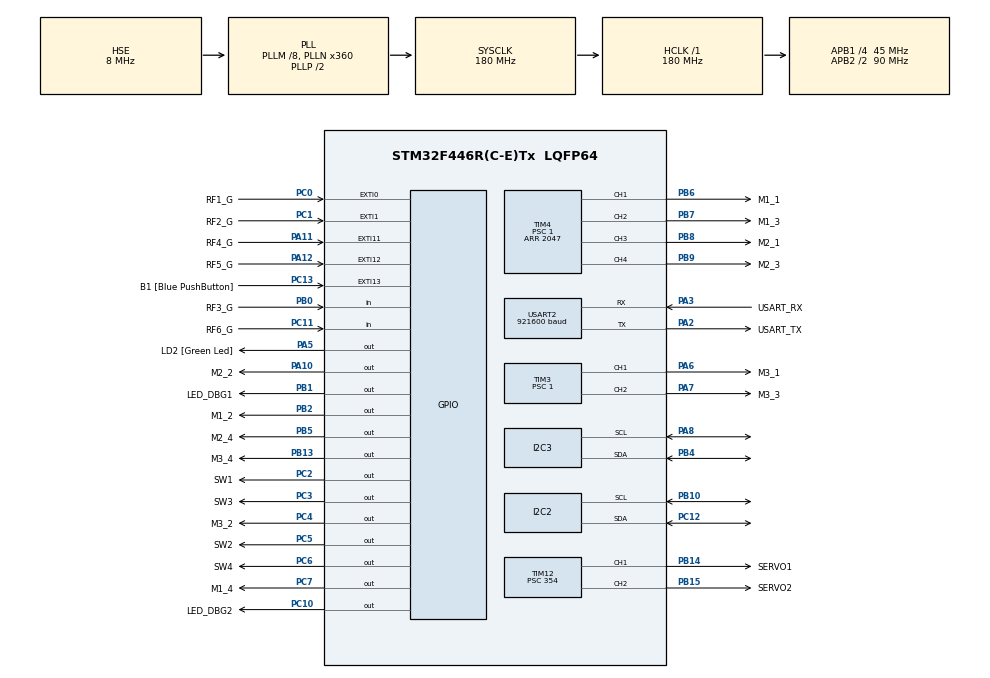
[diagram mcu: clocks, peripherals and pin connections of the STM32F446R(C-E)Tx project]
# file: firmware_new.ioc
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Dma.I2C2_RX.0.Direction=DMA_PERIPH_TO_MEMORY
Dma.I2C2_RX.0.FIFOMode=DMA_FIFOMODE_DISABLE
Dma.I2C2_RX.0.Instance=DMA1_Stream2
Dma.I2C2_RX.0.MemDataAlignment=DMA_MDATAALIGN_BYTE
Dma.I2C2_RX.0.MemInc=DMA_MINC_ENABLE
Dma.I2C2_RX.0.Mode=DMA_NORMAL
Dma.I2C2_RX.0.PeriphDataAlignment=DMA_PDATAALIGN_BYTE
Dma.I2C2_RX.0.PeriphInc=DMA_PINC_DISABLE
Dma.I2C2_RX.0.Priority=DMA_PRIORITY_LOW
Dma.I2C2_TX.1.Direction=DMA_MEMORY_TO_PERIPH
Dma.I2C2_TX.1.FIFOMode=DMA_FIFOMODE_DISABLE
Dma.I2C2_TX.1.Instance=DMA1_Stream7
Dma.I2C2_TX.1.MemDataAlignment=DMA_MDATAALIGN_BYTE
Dma.I2C2_TX.1.MemInc=DMA_MINC_ENABLE
Dma.I2C2_TX.1.Mode=DMA_NORMAL
Dma.I2C2_TX.1.PeriphDataAlignment=DMA_PDATAALIGN_BYTE
Dma.I2C2_TX.1.PeriphInc=DMA_PINC_DISABLE
Dma.I2C2_TX.1.Priority=DMA_PRIORITY_HIGH
Dma.I2C3_RX.2.Direction=DMA_PERIPH_TO_MEMORY
Dma.I2C3_RX.2.FIFOMode=DMA_FIFOMODE_DISABLE
Dma.I2C3_RX.2.Instance=DMA1_Stream1
Dma.I2C3_RX.2.MemDataAlignment=DMA_MDATAALIGN_BYTE
Dma.I2C3_RX.2.MemInc=DMA_MINC_ENABLE
Dma.I2C3_RX.2.Mode=DMA_NORMAL
Dma.I2C3_RX.2.PeriphDataAlignment=DMA_PDATAALIGN_BYTE
Dma.I2C3_RX.2.PeriphInc=DMA_PINC_DISABLE
Dma.I2C3_RX.2.Priority=DMA_PRIORITY_LOW
Dma.I2C3_TX.3.Direction=DMA_MEMORY_TO_PERIPH
Dma.I2C3_TX.3.FIFOMode=DMA_FIFOMODE_DISABLE
Dma.I2C3_TX.3.Instance=DMA1_Stream4
Dma.I2C3_TX.3.MemDataAlignment=DMA_MDATAALIGN_BYTE
Dma.I2C3_TX.3.MemInc=DMA_MINC_ENABLE
Dma.I2C3_TX.3.Mode=DMA_NORMAL
Dma.I2C3_TX.3.PeriphDataAlignment=DMA_PDATAALIGN_BYTE
Dma.I2C3_TX.3.PeriphInc=DMA_PINC_DISABLE
Dma.I2C3_TX.3.Priority=DMA_PRIORITY_HIGH
Dma.Request0=I2C2_RX
Dma.Request1=I2C2_TX
Dma.Request2=I2C3_RX
Dma.Request3=I2C3_TX
Dma.Request4=USART2_RX
Dma.Request5=USART2_TX
Dma.USART2_RX.4.Direction=DMA_PERIPH_TO_MEMORY
Dma.USART2_RX.4.FIFOMode=DMA_FIFOMODE_DISABLE
Dma.USART2_RX.4.Instance=DMA1_Stream5
Dma.USART2_RX.4.MemDataAlignment=DMA_MDATAALIGN_BYTE
Dma.USART2_RX.4.MemInc=DMA_MINC_ENABLE
Dma.USART2_RX.4.Mode=DMA_CIRCULAR
Dma.USART2_RX.4.PeriphDataAlignment=DMA_PDATAALIGN_BYTE
Dma.USART2_RX.4.PeriphInc=DMA_PINC_DISABLE
Dma.USART2_RX.4.Priority=DMA_PRIORITY_VERY_HIGH
Dma.USART2_TX.5.Direction=DMA_MEMORY_TO_PERIPH
Dma.USART2_TX.5.FIFOMode=DMA_FIFOMODE_DISABLE
Dma.USART2_TX.5.Instance=DMA1_Stream6
Dma.USART2_TX.5.MemDataAlignment=DMA_MDATAALIGN_BYTE
Dma.USART2_TX.5.MemInc=DMA_MINC_ENABLE
Dma.USART2_TX.5.Mode=DMA_NORMAL
Dma.USART2_TX.5.PeriphDataAlignment=DMA_PDATAALIGN_BYTE
Dma.USART2_TX.5.PeriphInc=DMA_PINC_DISABLE
Dma.USART2_TX.5.Priority=DMA_PRIORITY_VERY_HIGH
I2C2.I2C_Mode=I2C_Fast
I2C3.I2C_Mode=I2C_Fast
Mcu.Family=STM32F4
Mcu.Name=STM32F446R(C-E)Tx
Mcu.Package=LQFP64
NVIC.DMA1_Stream1_IRQn=true\:0\:0\:false\:false\:true\:false
NVIC.DMA1_Stream2_IRQn=true\:0\:0\:false\:false\:true\:false
NVIC.DMA1_Stream4_IRQn=true\:0\:0\:false\:false\:true\:false
NVIC.DMA1_Stream5_IRQn=true\:0\:0\:false\:false\:true\:false
NVIC.DMA1_Stream6_IRQn=true\:0\:0\:false\:false\:true\:false
NVIC.DMA1_Stream7_IRQn=true\:0\:0\:false\:false\:true\:false
NVIC.I2C2_ER_IRQn=true\:0\:0\:false\:false\:true\:true
NVIC.I2C2_EV_IRQn=true\:0\:0\:false\:false\:true\:true
NVIC.I2C3_ER_IRQn=true\:0\:0\:false\:false\:true\:true
NVIC.I2C3_EV_IRQn=true\:0\:0\:false\:false\:true\:true
NVIC.PriorityGroup=NVIC_PRIORITYGROUP_0
NVIC.USART2_IRQn=true\:0\:0\:false\:false\:true\:true
PA10.GPIO_Label=M2_2
PA10.Signal=GPIO_Output
PA11.GPIO_Label=RF4_G
PA11.GPIO_ModeDefaultEXTI=GPIO_MODE_IT_FALLING
PA11.GPIO_PuPd=GPIO_PULLUP
PA11.Signal=GPXTI11
PA12.GPIO_Label=RF5_G
PA12.GPIO_ModeDefaultEXTI=GPIO_MODE_IT_FALLING
PA12.GPIO_PuPd=GPIO_PULLUP
PA12.Signal=GPXTI12
PA13.GPIO_Label=TMS
PA13.Signal=SYS_JTMS-SWDIO
PA14.GPIO_Label=TCK
PA14.Signal=SYS_JTCK-SWCLK
PA2.GPIO_Label=USART_TX
PA2.Mode=Asynchronous
PA2.Signal=USART2_TX
PA3.GPIO_Label=USART_RX
PA3.Mode=Asynchronous
PA3.Signal=USART2_RX
PA5.GPIO_Label=LD2 [Green Led]
PA5.Signal=GPIO_Output
PA6.GPIO_Label=M3_1
PA6.Signal=S_TIM3_CH1
PA7.GPIO_Label=M3_3
PA7.Signal=S_TIM3_CH2
PA8.Mode=I2C
PA8.Signal=I2C3_SCL
PB0.GPIO_Label=RF3_G
PB0.GPIO_PuPd=GPIO_PULLUP
PB0.Signal=GPIO_Input
PB1.GPIO_Label=LED_DBG1
PB1.Signal=GPIO_Output
PB10.Mode=I2C
PB10.Signal=I2C2_SCL
PB13.GPIO_Label=M3_4
PB13.Signal=GPIO_Output
PB14.GPIO_Label=SERVO1
PB14.Signal=S_TIM12_CH1
PB15.GPIO_Label=SERVO2
PB15.Signal=S_TIM12_CH2
PB2.GPIO_Label=M1_2
PB2.Signal=GPIO_Output
PB3.GPIO_Label=SWO
PB3.Signal=SYS_JTDO-SWO
PB4.Mode=I2C
PB4.Signal=I2C3_SDA
PB5.GPIO_Label=M2_4
PB5.Signal=GPIO_Output
PB6.GPIO_Label=M1_1
PB6.Signal=S_TIM4_CH1
PB7.GPIO_Label=M1_3
PB7.Signal=S_TIM4_CH2
PB8.GPIO_Label=M2_1
PB8.Signal=S_TIM4_CH3
PB9.GPIO_Label=M2_3
PB9.Signal=S_TIM4_CH4
PC0.GPIO_Label=RF1_G
PC0.GPIO_ModeDefaultEXTI=GPIO_MODE_IT_FALLING
PC0.GPIO_PuPd=GPIO_PULLUP
PC0.Signal=GPXTI0
PC1.GPIO_Label=RF2_G
PC1.GPIO_ModeDefaultEXTI=GPIO_MODE_IT_FALLING
PC1.GPIO_PuPd=GPIO_PULLUP
PC1.Signal=GPXTI1
PC10.GPIO_Label=LED_DBG2
PC10.Signal=GPIO_Output
PC11.GPIO_Label=RF6_G
PC11.Signal=GPIO_Input
PC12.Mode=I2C
PC12.Signal=I2C2_SDA
PC13.GPIO_Label=B1 [Blue PushButton]
PC13.GPIO_ModeDefaultEXTI=GPIO_MODE_IT_FALLING
PC13.Signal=GPXTI13
PC14-OSC32_IN.Mode=LSE-External-Oscillator
PC14-OSC32_IN.Signal=RCC_OSC32_IN
PC15-OSC32_OUT.Mode=LSE-External-Oscillator
PC15-OSC32_OUT.Signal=RCC_OSC32_OUT
PC2.GPIO_Label=SW1
PC2.Signal=GPIO_Output
PC3.GPIO_Label=SW3
PC3.Signal=GPIO_Output
PC4.GPIO_Label=M3_2
PC4.Signal=GPIO_Output
PC5.GPIO_Label=SW2
PC5.Signal=GPIO_Output
PC6.GPIO_Label=SW4
PC6.Signal=GPIO_Output
PC7.GPIO_Label=M1_4
PC7.Signal=GPIO_Output
PH0-OSC_IN.Mode=HSE-External-Oscillator
PH0-OSC_IN.Signal=RCC_OSC_IN
PH1-OSC_OUT.Mode=HSE-External-Oscillator
PH1-OSC_OUT.Signal=RCC_OSC_OUT
ProjectManager.HeapSize=0x200
ProjectManager.StackSize=0x400
ProjectManager.TargetToolchain=Makefile
RCC.AHBFreq_Value=180000000
RCC.APB1CLKDivider=RCC_HCLK_DIV4
RCC.APB1Freq_Value=45000000
RCC.APB1TimFreq_Value=90000000
RCC.APB2CLKDivider=RCC_HCLK_DIV2
RCC.APB2Freq_Value=90000000
RCC.APB2TimFreq_Value=180000000
RCC.CortexFreq_Value=180000000
RCC.FLatency-AdvancedSettings=FLASH_LATENCY_5
RCC.HCLKFreq_Value=180000000
RCC.HSE_VALUE=8000000
RCC.HSI_VALUE=16000000
RCC.PLLM=8
RCC.PLLN=360
RCC.PLLSourceVirtual=RCC_PLLSOURCE_HSE
RCC.SYSCLKFreq_VALUE=180000000
RCC.SYSCLKSource=RCC_SYSCLKSOURCE_PLLCLK
RCC.USBFreq_Value=180000000
RCC.VCOOutputFreq_Value=360000000
SH.S_TIM12_CH1.0=TIM12_CH1,PWM Generation1 CH1
SH.S_TIM12_CH2.0=TIM12_CH2,PWM Generation2 CH2
SH.S_TIM3_CH1.0=TIM3_CH1,PWM Generation1 CH1
SH.S_TIM3_CH2.0=TIM3_CH2,PWM Generation2 CH2
SH.S_TIM4_CH1.0=TIM4_CH1,PWM Generation1 CH1
SH.S_TIM4_CH2.0=TIM4_CH2,PWM Generation2 CH2
SH.S_TIM4_CH3.0=TIM4_CH3,PWM Generation3 CH3
SH.S_TIM4_CH4.0=TIM4_CH4,PWM Generation4 CH4
TIM12.Channel-PWM\ Generation1\ CH1=TIM_CHANNEL_1
TIM12.Channel-PWM\ Generation2\ CH2=TIM_CHANNEL_2
TIM12.ClockDivision=TIM_CLOCKDIVISION_DIV1
TIM12.Period=3178
TIM12.Prescaler=354
TIM12.Pulse-PWM\ Generation1\ CH1=63
TIM12.Pulse-PWM\ Generation2\ CH2=63
TIM3.Channel-PWM\ Generation1\ CH1=TIM_CHANNEL_1
TIM3.Channel-PWM\ Generation2\ CH2=TIM_CHANNEL_2
TIM3.Period=2047
TIM3.Prescaler=1
TIM4.Channel-PWM\ Generation1\ CH1=TIM_CHANNEL_1
TIM4.Channel-PWM\ Generation2\ CH2=TIM_CHANNEL_2
TIM4.Channel-PWM\ Generation3\ CH3=TIM_CHANNEL_3
TIM4.Channel-PWM\ Generation4\ CH4=TIM_CHANNEL_4
TIM4.Period=2047
TIM4.Prescaler=1
TIM5.Period=0xFFFFFFFF
TIM5.Prescaler=9000
USART2.BaudRate=921600
USART2.VirtualMode=VM_ASYNC
VP_TIM12_VS_ClockSourceINT.Mode=Internal
VP_TIM3_VS_ClockSourceINT.Mode=Internal
VP_TIM4_VS_ClockSourceINT.Mode=Internal
VP_TIM5_VS_ClockSourceINT.Mode=Internal
board=NUCLEO-F446RE

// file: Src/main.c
/**
  ******************************************************************************
  * File Name          : main.c
  * Description        : Main program body
  ******************************************************************************
  ** This notice applies to any and all portions of this file
  * that are not between comment pairs USER CODE BEGIN and
  * USER CODE END. Other portions of this file, whether
  * inserted by the user or by software development tools
  * are owned by their respective copyright owners.
  *
  * COPYRIGHT(c) 2018 STMicroelectronics
  *
  * Redistribution and use in source and binary forms, with or without modification,
  * are permitted provided that the following conditions are met:
  *   1. Redistributions of source code must retain the above copyright notice,
  *      this list of conditions and the following disclaimer.
  *   2. Redistributions in binary form must reproduce the above copyright notice,
  *      this list of conditions and the following disclaimer in the documentation
  *      and/or other materials provided with the distribution.
  *   3. Neither the name of STMicroelectronics nor the names of its contributors
  *      may be used to endorse or promote products derived from this software
  *      without specific prior written permission.
  *
  * THIS SOFTWARE IS PROVIDED BY THE COPYRIGHT HOLDERS AND CONTRIBUTORS "AS IS"
  * AND ANY EXPRESS OR IMPLIED WARRANTIES, INCLUDING, BUT NOT LIMITED TO, THE
  * IMPLIED WARRANTIES OF MERCHANTABILITY AND FITNESS FOR A PARTICULAR PURPOSE ARE
  * DISCLAIMED. IN NO EVENT SHALL THE COPYRIGHT HOLDER OR CONTRIBUTORS BE LIABLE
  * FOR ANY DIRECT, INDIRECT, INCIDENTAL, SPECIAL, EXEMPLARY, OR CONSEQUENTIAL
  * DAMAGES (INCLUDING, BUT NOT LIMITED TO, PROCUREMENT OF SUBSTITUTE GOODS OR
  * SERVICES; LOSS OF USE, DATA, OR PROFITS; OR BUSINESS INTERRUPTION) HOWEVER
  * CAUSED AND ON ANY THEORY OF LIABILITY, WHETHER IN CONTRACT, STRICT LIABILITY,
  * OR TORT (INCLUDING NEGLIGENCE OR OTHERWISE) ARISING IN ANY WAY OUT OF THE USE
  * OF THIS SOFTWARE, EVEN IF ADVISED OF THE POSSIBILITY OF SUCH DAMAGE.
  *
  ******************************************************************************
  */

#include "main.h"
#include "stm32f4xx_hal.h"
#include "dma.h"
#include "i2c.h"
#include "tim.h"
#include "usart.h"
#include "gpio.h"

/* USER CODE BEGIN Includes */
#include <stdlib.h>
#include <stdio.h>
#include "imu.h"
#include "vl53l0x_top.h"
/* USER CODE END Includes */

/* USER CODE BEGIN PV */
/* Private variables ---------------------------------------------------------*/
struct motor_t {
    GPIO_TypeDef *GPIOx;
    uint16_t GPIO_Pin;
    GPIO_PinState PinState;

    TIM_HandleTypeDef *TIM_Handle;
    TIM_OC_InitTypeDef sConfigOC;
    uint32_t TIM_Channel;
};

struct motor_t motorConfigs[4] = {
    {MOTOR_FL_DIR_GPIO_Port, MOTOR_FL_DIR_Pin, GPIO_PIN_RESET, 0, {0}, TIM_CHANNEL_2},
    {MOTOR_FR_DIR_GPIO_Port, MOTOR_FR_DIR_Pin, GPIO_PIN_RESET, 0, {0}, TIM_CHANNEL_4},
    {MOTOR_BR_DIR_GPIO_Port, MOTOR_BR_DIR_Pin, GPIO_PIN_RESET, 0, {0}, TIM_CHANNEL_1},
    {MOTOR_BL_DIR_GPIO_Port, MOTOR_BL_DIR_Pin, GPIO_PIN_RESET, 0, {0}, TIM_CHANNEL_3}};
struct motor_t* motorConfigsPtr = motorConfigs;

volatile uint8_t wd_reset = 0;

uint8_t data_updating = 0;
unsigned char data_packet[21];
volatile uint8_t sensor_update_req = 0;
volatile uint8_t dbg_btn_latch = 0;

// WARNING!! Do not spam the UART or else Raspberry PI doesn't communicate well
//#define DATA_PRINT_EN
//
/* USER CODE END PV */

void SystemClock_Config(void);

/* USER CODE BEGIN PFP */
/* Private function prototypes -----------------------------------------------*/
void TimeStamp_Reset();
uint32_t TimeStamp_Get();

/* USER CODE END PFP */

int main(void)
{

  /* USER CODE BEGIN 1 */

    // Initialize all clocks so we don't run into weird clock problems...
    RCC->AHB1ENR |= 0xFFFFFFFF;
    RCC->AHB2ENR |= 0xFFFFFFFF;
    RCC->AHB3ENR |= 0xFFFFFFFF;
    RCC->APB1ENR |= 0xFFFFFFFF;
    RCC->APB2ENR |= 0xFFFFFFFF;

  /* USER CODE END 1 */

  /* MCU Configuration----------------------------------------------------------*/

  /* Reset of all peripherals, Initializes the Flash interface and the Systick. */
  HAL_Init();

  /* Configure the system clock */
  SystemClock_Config();

  /* USER CODE BEGIN 2 */
    /* Initialize all configured peripherals */
    MX_GPIO_Init();
    MX_DMA_Init();
    MX_I2C2_Init();
    MX_I2C3_Init();
    MX_TIM3_Init();
    MX_TIM4_Init();
    MX_TIM12_Init();
    MX_USART2_UART_Init();
    MX_TIM5_Init();

    TIM_OC_InitTypeDef sConfigOC;
    sConfigOC.OCMode = TIM_OCMODE_PWM1;
    sConfigOC.OCPolarity = TIM_OCPOLARITY_HIGH;
    sConfigOC.OCFastMode = TIM_OCFAST_DISABLE;
    sConfigOC.Pulse = 0;

    int i;
    for (i=0; i<4; i++) {
        motorConfigs[i].TIM_Handle = &htim4;
        motorConfigs[i].sConfigOC = sConfigOC;
    }

    TimeStamp_Reset();
    serviceUART();
    printf("Enabling IMU...\r\n");
    IMU_begin();
    printf("Initializing rangefinders...\r\n");
    VL53L0X_begin();

    // Set servo default position
//    sConfigOC.Pulse = SERVO1_PULSE_2;
//    if (HAL_TIM_PWM_ConfigChannel(&htim12, &sConfigOC, TIM_CHANNEL_1) != HAL_OK) { Error_Handler(); }
    if (HAL_TIM_PWM_Start(&htim12, TIM_CHANNEL_1) != HAL_OK){ Error_Handler(); }

  /* USER CODE END 2 */

  /* Infinite loop */
  /* USER CODE BEGIN WHILE */
    uint32_t wd_start = 0;
    uint32_t cur_time = 0;
    uint8_t wd_en = 0;
    data_packet[20] = '\n';

    while (1)
    {
  /* USER CODE END WHILE */

  /* USER CODE BEGIN 3 */

        // Reset watchdog start time if flag is set
        if (wd_reset == 1){
            wd_start = TimeStamp_Get();  // Units of 0.1 ms based on Timer5
            wd_en = 1;
            wd_reset = 0;
        } else if (wd_en == 1){
            // Trigger if watchdog is enabled and expires
            cur_time = TimeStamp_Get();
            if ((cur_time - wd_start) > WD_LEN){
                wd_en = 0;

                // Disable motors
                int i;
                for (i=0; i<4; i++) {
                    motorConfigs[i].PinState = GPIO_PIN_RESET;
                    motorConfigs[i].sConfigOC.Pulse = 0;
                }
                for (i=0; i<4; i++) {
                    // Alter the PWM duty cycle and start PWM again
                    if (HAL_TIM_PWM_ConfigChannel(motorConfigs[i].TIM_Handle, &motorConfigs[i].sConfigOC,
                               motorConfigs[i].TIM_Channel) != HAL_OK) { Error_Handler(); }
                    if (HAL_TIM_PWM_Start(motorConfigs[i].TIM_Handle, motorConfigs[i].TIM_Channel)
                            != HAL_OK){ Error_Handler(); }

                    // Set the direction pin
                    HAL_GPIO_WritePin(motorConfigs[i].GPIOx, motorConfigs[i].GPIO_Pin, motorConfigs[i].PinState);
                }
            }
        }

        // Read debug button
        dbg_btn_latch = HAL_GPIO_ReadPin(B1_GPIO_Port, B1_Pin) && dbg_btn_latch;

        if (sensor_update_req == 1){
            int i;
            for (i = 0; i < 4; i++){
                if (rangefinderRead(i)){
                    data_packet[i*2  ] = (rangeData[i] >> 8) & 0xFF;
                    data_packet[i*2+1] =  rangeData[i]       & 0xFF;
                }
            }
            sensor_update_req = 0;
        }

        magnetometer_read();
        data_packet[ 8] = (magData.x >> 8) & 0xFF;
        data_packet[ 9] =  magData.x       & 0xFF;
        data_packet[10] = (magData.y >> 8) & 0xFF;
        data_packet[11] =  magData.y       & 0xFF;
        data_packet[12] = (magData.z >> 8) & 0xFF;
        data_packet[13] =  magData.z       & 0xFF;

        accelerometer_read();
        data_packet[14] = (accelData.x >> 8) & 0xFF;
        data_packet[15] =  accelData.x       & 0xFF;
        data_packet[16] = (accelData.y >> 8) & 0xFF;
        data_packet[17] =  accelData.y       & 0xFF;
        data_packet[18] = (accelData.z >> 8) & 0xFF;
        data_packet[19] =  accelData.z       & 0xFF;

    //        gyro_read();
//        data_packet[20] = (gyroData.x >> 8) & 0xFF;
//        data_packet[21] =  gyroData.x       & 0xFF;
//        data_packet[22] = (gyroData.y >> 8) & 0xFF;
//        data_packet[23] =  gyroData.y       & 0xFF;
//        data_packet[24] = (gyroData.z >> 8) & 0xFF;
//        data_packet[25] =  gyroData.z       & 0xFF;
//
    }
  /* USER CODE END 3 */

}

/** System Clock Configuration
*/
void SystemClock_Config(void)
{

  RCC_OscInitTypeDef RCC_OscInitStruct;
  RCC_ClkInitTypeDef RCC_ClkInitStruct;

    /**Configure the main internal regulator output voltage
    */
  __HAL_RCC_PWR_CLK_ENABLE();

  __HAL_PWR_VOLTAGESCALING_CONFIG(PWR_REGULATOR_VOLTAGE_SCALE1);

    /**Initializes the CPU, AHB and APB busses clocks
    */
  RCC_OscInitStruct.OscillatorType = RCC_OSCILLATORTYPE_HSE;
  RCC_OscInitStruct.HSEState = RCC_HSE_ON;
  RCC_OscInitStruct.PLL.PLLState = RCC_PLL_ON;
  RCC_OscInitStruct.PLL.PLLSource = RCC_PLLSOURCE_HSE;
  RCC_OscInitStruct.PLL.PLLM = 8;
  RCC_OscInitStruct.PLL.PLLN = 360;
  RCC_OscInitStruct.PLL.PLLP = RCC_PLLP_DIV2;
  RCC_OscInitStruct.PLL.PLLQ = 2;
  RCC_OscInitStruct.PLL.PLLR = 2;
  if (HAL_RCC_OscConfig(&RCC_OscInitStruct) != HAL_OK)
  {
    _Error_Handler(__FILE__, __LINE__);
  }

    /**Activate the Over-Drive mode
    */
  if (HAL_PWREx_EnableOverDrive() != HAL_OK)
  {
    _Error_Handler(__FILE__, __LINE__);
  }

    /**Initializes the CPU, AHB and APB busses clocks
    */
  RCC_ClkInitStruct.ClockType = RCC_CLOCKTYPE_HCLK|RCC_CLOCKTYPE_SYSCLK
                              |RCC_CLOCKTYPE_PCLK1|RCC_CLOCKTYPE_PCLK2;
  RCC_ClkInitStruct.SYSCLKSource = RCC_SYSCLKSOURCE_PLLCLK;
  RCC_ClkInitStruct.AHBCLKDivider = RCC_SYSCLK_DIV1;
  RCC_ClkInitStruct.APB1CLKDivider = RCC_HCLK_DIV4;
  RCC_ClkInitStruct.APB2CLKDivider = RCC_HCLK_DIV2;

  if (HAL_RCC_ClockConfig(&RCC_ClkInitStruct, FLASH_LATENCY_5) != HAL_OK)
  {
    _Error_Handler(__FILE__, __LINE__);
  }

    /**Configure the Systick interrupt time
    */
  HAL_SYSTICK_Config(HAL_RCC_GetHCLKFreq()/1000);

    /**Configure the Systick
    */
  HAL_SYSTICK_CLKSourceConfig(SYSTICK_CLKSOURCE_HCLK);

  /* SysTick_IRQn interrupt configuration */
  HAL_NVIC_SetPriority(SysTick_IRQn, 0, 0);
}

/* USER CODE BEGIN 4 */
void TimeStamp_Reset(){
    HAL_TIM_Base_Start(&htim5);
    htim5.Instance->CNT=0;
}

uint32_t TimeStamp_Get(){
    return htim5.Instance->CNT;
}

// Redirect printf to UART
int _write (int fd, char *ptr, int len)
{
    transmitUART(ptr, len);
    return len;
}

// Execute a command from the console
void consoleCommand(uint8_t *ptr, int len)
{
    uint32_t timestart;
    uint32_t timestop;
    timestart = TimeStamp_Get();
    wd_reset = 1;

    // V for version
    if (ptr[0] == 'V' || ptr[0] == 'v'){
        printf("Robojustin v0.2\r\n");
    }

    // I for I2C bus scan
    else if (ptr[0] == 'I' || ptr[0] == 'i'){
        // I2C2
        if (ptr[1] == '2'){
            I2C_Scan(&hi2c2);
        }
        // I2C3
        if (ptr[1] == '3'){
            I2C_Scan(&hi2c3);
        }
    }

    // A for queue sensor read
    else if (ptr[0] == 'A' || ptr[0] == 'a') {
        sensor_update_req = 1;
    }

    // B for send data in binary
    else if (ptr[0] == 'B' || ptr[0] == 'b') {
        transmitUART(data_packet, 21);
    }

    // Z for send data in binary
    else if (ptr[0] == 'Z' || ptr[0] == 'z') {
        printf("%d\n", dbg_btn_latch);
        dbg_btn_latch = 1;
    }

    // D for send data in human readable format
    else if (ptr[0] == 'D' || ptr[0] == 'd') {
        printf("%d,%d,%d,%d,%d,%d,%d,%d,%d,%d,%d,%d,%d\r\n",
                rangeData[0], rangeData[1],
                rangeData[2], rangeData[3],
                magData.x, magData.y, magData.z,
                accelData.x, accelData.y, accelData.z,
                gyroData.x, gyroData.y, gyroData.z);
    }

    // M for motor control commands
    else if (ptr[0] == 'M' || ptr[0] == 'm'){
        int i;
        int32_t val;
        int32_t motorU[4];
        sscanf (ptr,"%*s %d %d %d %d", &motorU[0], &motorU[1], &motorU[2], &motorU[3]);
//        printf ("%d %d %d %d\n", motorU[0], motorU[1], motorU[2], motorU[3]);

        for (i=0; i<4; i++) {
            if (motorU[i] < 0){
                motorConfigs[i].PinState = GPIO_PIN_SET;
                motorConfigs[i].sConfigOC.Pulse = 2047 + motorU[i];
            } else {
                motorConfigs[i].PinState = GPIO_PIN_RESET;
                motorConfigs[i].sConfigOC.Pulse = motorU[i];
            }
        }

        for (i=0; i<4; i++) {
            // Alter the PWM duty cycle and start PWM again
            if (HAL_TIM_PWM_ConfigChannel(motorConfigs[i].TIM_Handle, &motorConfigs[i].sConfigOC,
                       motorConfigs[i].TIM_Channel) != HAL_OK) { Error_Handler(); }
            if (HAL_TIM_PWM_Start(motorConfigs[i].TIM_Handle, motorConfigs[i].TIM_Channel)
                    != HAL_OK){ Error_Handler(); }
            // Set the direction pin
            HAL_GPIO_WritePin(motorConfigs[i].GPIOx, motorConfigs[i].GPIO_Pin, motorConfigs[i].PinState);
        }
    }
    // S for servo commands
    else if (ptr[0] == 'S' || ptr[0] == 's'){
        TIM_OC_InitTypeDef sConfigOC;
        sConfigOC.OCMode = TIM_OCMODE_PWM1;
        sConfigOC.OCPolarity = TIM_OCPOLARITY_HIGH;
        sConfigOC.OCFastMode = TIM_OCFAST_DISABLE;

        if (ptr[1] == '0'){         // Set servo to 0 degrees
            sConfigOC.Pulse = SERVO1_PULSE_1;
        }
        else if (ptr[1] == '1'){    // Set servo to slot 1 release
            sConfigOC.Pulse = SERVO1_PULSE_1;
        }
        else if (ptr[1] == '2'){    // Set servo to slot 2 release
            sConfigOC.Pulse = SERVO1_PULSE_2;
        }
        else if (ptr[1] == '3'){    // Set servo to slot 3 release
            sConfigOC.Pulse = SERVO1_PULSE_3;
        }
        else if (ptr[1] == '4'){    // Set servo to slot 4 release
            sConfigOC.Pulse = SERVO1_PULSE_4;
        }

        if (ptr[2] == 'S' || ptr[2] == 's'){
            sConfigOC.Pulse = atoi((char *)ptr + 3);
        }

        // Alter the PWM duty cycle and start PWM again
        if (HAL_TIM_PWM_ConfigChannel(&htim12, &sConfigOC, TIM_CHANNEL_1) != HAL_OK) { Error_Handler(); }
        if (HAL_TIM_PWM_Start(&htim12, TIM_CHANNEL_1) != HAL_OK){ Error_Handler(); }
    }
    // L for launcher macro commands
    else if (ptr[0] == 'L' || ptr[0] == 'l'){
        uint32_t slot_pulse1 = SERVO1_PULSE_90;
        uint32_t slot_pulse2 = SERVO1_PULSE_90;

        // Fire left side slots
        if (ptr[1] == 'L' || ptr[1] == 'l'){
            slot_pulse1 = SERVO1_PULSE_2;
            slot_pulse2 = SERVO1_PULSE_1;
        }
        // Fire right side slots
        else if (ptr[1] == 'R' || ptr[1] == 'r'){
            slot_pulse1 = SERVO1_PULSE_3;
            slot_pulse2 = SERVO1_PULSE_4;
        }
        // Stop
        else if (ptr[1] == 'S' || ptr[1] == 's'){
            // Disable blower and launcher motors
            HAL_GPIO_WritePin(BLOWER_DIR_GPIO_Port, BLOWER_DIR_Pin, 0);
            HAL_GPIO_WritePin(MOTOR_LAUNCH_DIR_GPIO_Port, MOTOR_LAUNCH_DIR_Pin, 0);
        }

        if (ptr[1] == 'L' || ptr[1] == 'l' || ptr[1] == 'R' || ptr[1] == 'r'){
            uint32_t cur_time = 0;
            uint32_t cur_time2 = 0;
            uint32_t wiggle_amt = 200;
            uint32_t wiggle_period = 1200;

            TIM_OC_InitTypeDef sConfigOC;
            sConfigOC.OCMode = TIM_OCMODE_PWM1;
            sConfigOC.OCPolarity = TIM_OCPOLARITY_HIGH;
            sConfigOC.OCFastMode = TIM_OCFAST_DISABLE;

            // Enable blower and launcher motors
            HAL_GPIO_WritePin(BLOWER_DIR_GPIO_Port, BLOWER_DIR_Pin, 1);
            sConfigOC.Pulse = 130;
            if (HAL_TIM_PWM_ConfigChannel(&htim3, &sConfigOC, TIM_CHANNEL_2) != HAL_OK) { Error_Handler(); }
            if (HAL_TIM_PWM_Start(&htim3, TIM_CHANNEL_2) != HAL_OK){ Error_Handler(); }
            HAL_GPIO_WritePin(MOTOR_LAUNCH_DIR_GPIO_Port, MOTOR_LAUNCH_DIR_Pin, 1);

            // Wait for balls to finish firing first slot
            cur_time = TimeStamp_Get();
            while (TimeStamp_Get() - cur_time < 25000){
                // Move servo to release first slot and jiggle it
                sConfigOC.Pulse = slot_pulse1 + wiggle_amt;
                if (HAL_TIM_PWM_ConfigChannel(&htim12, &sConfigOC, TIM_CHANNEL_1) != HAL_OK) { Error_Handler(); }
                if (HAL_TIM_PWM_Start(&htim12, TIM_CHANNEL_1) != HAL_OK){ Error_Handler(); }

                cur_time2 = TimeStamp_Get();
                while (TimeStamp_Get() - cur_time2 < wiggle_period){}

                sConfigOC.Pulse = slot_pulse1 - wiggle_amt;
                if (HAL_TIM_PWM_ConfigChannel(&htim12, &sConfigOC, TIM_CHANNEL_1) != HAL_OK) { Error_Handler(); }
                if (HAL_TIM_PWM_Start(&htim12, TIM_CHANNEL_1) != HAL_OK){ Error_Handler(); }

                cur_time2 = TimeStamp_Get();
                while (TimeStamp_Get() - cur_time2 < wiggle_period){}
            }

            // Wait for balls to finish firing second slot
            cur_time = TimeStamp_Get();
            while (TimeStamp_Get() - cur_time < 25000){
                // Move servo to release first slot and jiggle it
                sConfigOC.Pulse = slot_pulse2 + wiggle_amt;
                if (HAL_TIM_PWM_ConfigChannel(&htim12, &sConfigOC, TIM_CHANNEL_1) != HAL_OK) { Error_Handler(); }
                if (HAL_TIM_PWM_Start(&htim12, TIM_CHANNEL_1) != HAL_OK){ Error_Handler(); }

                cur_time2 = TimeStamp_Get();
                while (TimeStamp_Get() - cur_time2 < wiggle_period){}

                sConfigOC.Pulse = slot_pulse2 - wiggle_amt;
                if (HAL_TIM_PWM_ConfigChannel(&htim12, &sConfigOC, TIM_CHANNEL_1) != HAL_OK) { Error_Handler(); }
                if (HAL_TIM_PWM_Start(&htim12, TIM_CHANNEL_1) != HAL_OK){ Error_Handler(); }

                cur_time2 = TimeStamp_Get();
                while (TimeStamp_Get() - cur_time2 < wiggle_period){}
            }

            // Disable blower and launcher motors
            HAL_GPIO_WritePin(BLOWER_DIR_GPIO_Port, BLOWER_DIR_Pin, 0);
            sConfigOC.Pulse = 0;
            if (HAL_TIM_PWM_ConfigChannel(&htim3, &sConfigOC, TIM_CHANNEL_2) != HAL_OK) { Error_Handler(); }
            if (HAL_TIM_PWM_Start(&htim3, TIM_CHANNEL_2) != HAL_OK){ Error_Handler(); }
            HAL_GPIO_WritePin(MOTOR_LAUNCH_DIR_GPIO_Port, MOTOR_LAUNCH_DIR_Pin, 0);

            // Move servo to center position
            sConfigOC.Pulse = SERVO1_PULSE_90;
            if (HAL_TIM_PWM_ConfigChannel(&htim12, &sConfigOC, TIM_CHANNEL_1) != HAL_OK) { Error_Handler(); }
            if (HAL_TIM_PWM_Start(&htim12, TIM_CHANNEL_1) != HAL_OK){ Error_Handler(); }
        }
    }
    timestop = TimeStamp_Get();
//    printf("%d\n", (timestop - timestart));
}
/* USER CODE END 4 */

void _Error_Handler(char * file, int line)
{
  /* USER CODE BEGIN Error_Handler_Debug */
  /* User can add his own implementation to report the HAL error return state */
    printf("Entered error handler.\r\n");
    while(1)
    {
        HAL_GPIO_TogglePin(GPIOB, GPIO_PIN_1);
        HAL_Delay(100);
    }
  /* USER CODE END Error_Handler_Debug */
}

#ifdef USE_FULL_ASSERT

/**
   * @brief Reports the name of the source file and the source line number
   * where the assert_param error has occurred.
   * @param file: pointer to the source file name
   * @param line: assert_param error line source number
   * @retval None
   */
void assert_failed(uint8_t* file, uint32_t line)
{
  /* USER CODE BEGIN 6 */
    printf("Assert failed.\r\n");
    while(1)
    {
        HAL_GPIO_TogglePin(GPIOB, GPIO_PIN_1);
        HAL_Delay(100);
    }
  /* User can add his own implementation to report the file name and line number,
    ex: printf("Wrong parameters value: file %s on line %d\r\n", file, line) */
  /* USER CODE END 6 */

}

#endif

/************************ (C) COPYRIGHT STMicroelectronics *****END OF FILE****/
